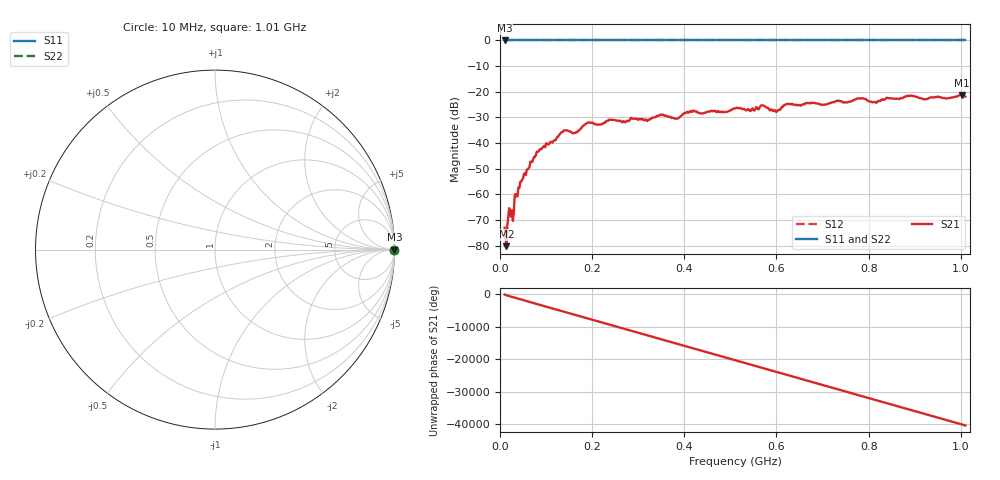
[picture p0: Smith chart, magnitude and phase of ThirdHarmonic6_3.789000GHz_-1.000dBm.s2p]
! 8/17/2025 1:05:01 PM
! C:\ANRITSUVNA\TEMP\TEMP.S2P
! CHANNEL.1
! TR.MEASUREMENT
! RAW.DATA
! RF.CORRECTION.OFF
! AVERAGING.OFF
! IF.BANDWIDTH: 5KHZ
! SWEEPTYPE:  FREQ.SWEEP(Linear)
! Reference Plane Port Info
! PORT:  PORT1  PORT2
! DISTANCE:  0  m  0  m
! TIME:  0  s  0  s
! PHASE.OFFSET:  0  deg.  0  deg.
! LOSS:  0  dB  0  dB
! REF.LOSS:  0  dB  0  dB
! REF.FREQ:  0  Hz  0  Hz
! Power Info
! POWER:  -20  dBm  -20  dBm
! EFF.POWER:  -20  dBm  -20  dBm
! SOURCE.ATTEN:  0  dB  0  dB
! TEST.ATTEN:  0  dB  0  dB
# GHZ S RI R 50.0
! FREQ.GHZ  S11RE  S11IM  S21RE  S21IM  S12RE  S12IM  S22RE  S22IM
!; PortSelection: Port_12
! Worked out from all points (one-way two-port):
!   501 points, 10 MHz to 1.01 GHz, reference 50 ohm
!   highest |S21| = -21.21 dB at 1.002 GHz (marker M1); lowest = -80.2 dB at 14 MHz (marker M2)
!   lowest |S11| = 0.0 dB at 10 MHz (marker M3)
!   |S11| at or under -10 dB: nowhere
!   |S22| runs from 0.0 to 0.0 dB; largest |S21 - S12| = 1.1
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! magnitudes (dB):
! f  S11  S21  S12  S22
! 10 MHz  0.0  -73.0  0.0  0.0
! 14 MHz  0.0  -80.2  0.0  0.0
! 20 MHz  0.0  -65.4  0.0  0.0
! 26 MHz  0.0  -66.2  0.0  0.0
! 36 MHz  0.0  -60.8  0.0  0.0
! 44 MHz  0.0  -55.1  0.0  0.0
! 82 MHz  0.0  -43.4  0.0  0.0
! 136 MHz  0.0  -35.7  0.0  0.0
! 162 MHz  0.0  -36.0  0.0  0.0
! 178 MHz  0.0  -33.7  0.0  0.0
! 194 MHz  0.0  -31.9  0.0  0.0
! 344 MHz  0.0  -29.4  0.0  0.0
! 384 MHz  0.0  -30.5  0.0  0.0
! 416 MHz  0.0  -27.9  0.0  0.0
! 510 MHz  0.0  -26.5  0.0  0.0
! 570 MHz  0.0  -25.3  0.0  0.0
! 598 MHz  0.0  -27.7  0.0  0.0
! 624 MHz  0.0  -24.7  0.0  0.0
! 678 MHz  0.0  -24.4  0.0  0.0
! 844 MHz  0.0  -22.5  0.0  0.0
! 1.002 GHz  0.0  -21.2  0.0  0.0
! 1.01 GHz  0.0  -21.9  0.0  0.0
